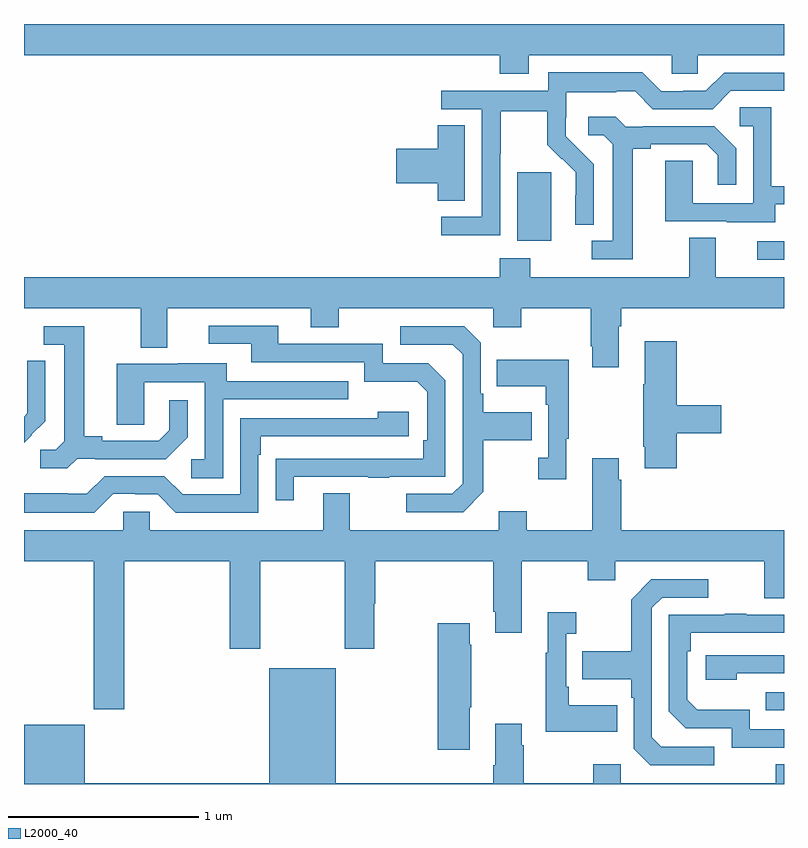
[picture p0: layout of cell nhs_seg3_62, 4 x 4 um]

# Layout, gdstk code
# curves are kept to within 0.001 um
import gdstk
lib = gdstk.Library(unit=1e-6, precision=1e-09)
def R(c, l, rs):  # rectangles x0, y0, x1, y1
    for r in rs: c.add(gdstk.rectangle(r[:2], r[2:], *l))
def P(c, l, *ps):  # polygons
    for p in ps: c.add(gdstk.Polygon(p, *l))
L2000_40 = (2000, 40)

nhs_seg3_62 = lib.new_cell('nhs_seg3_62')
R(nhs_seg3_62, L2000_40, [(116.905,710.787,117,710.883), (116.859,713.16,117,713.256), (115.595,713.258,115.774,713.619)])
P(nhs_seg3_62, L2000_40, [(115.657,714.236),(116.409,714.236),(116.409,714.138),(116.547,714.138),(116.547,714.236),(117,714.236),(117,714.4),(113,714.4),(113,714.236),(115.505,714.236),(115.505,714.137),(115.657,714.137)],
  [(115.506,713.716),(115.509,713.716),(115.509,713.94),(115.753,713.94),(115.753,713.765),(115.83,713.688),(115.833,713.691),(115.904,713.621),(115.904,713.498),(115.902,713.498),(115.902,713.344),(115.998,713.344),(115.998,713.662),(115.852,713.81),(115.852,713.907),(115.854,713.907),(115.854,714.041),(116.117,714.041),(116.117,714.045),(116.217,714.045),(116.31,713.952),(116.625,713.952),(116.721,714.048),(117,714.048),(117,714.144),(116.685,714.144),(116.589,714.048),(116.471,714.048),(116.471,714.045),(116.355,714.045),(116.255,714.145),(115.758,714.145),(115.758,714.048),(115.197,714.048),(115.197,713.952),(115.41,713.952),(115.41,713.385),(115.197,713.385),(115.197,713.287),(115.506,713.287)],
  [(116.953,713.451),(117,713.451),(117,713.547),(116.934,713.547),(116.934,713.963),(116.766,713.963),(116.766,713.862),(116.838,713.862),(116.838,713.457),(116.52,713.457),(116.52,713.681),(116.375,713.681),(116.375,713.361),(116.699,713.361),(116.699,713.357),(116.953,713.357)],
  [(116.203,713.744),(116.299,713.744),(116.299,713.766),(116.594,713.766),(116.651,713.709),(116.651,713.553),(116.748,713.553),(116.748,713.746),(116.632,713.862),(116.26,713.862),(116.26,713.859),(116.166,713.859),(116.114,713.911),(115.971,713.911),(115.971,713.814),(116.052,713.814),(116.099,713.767),(116.099,713.259),(115.989,713.259),(115.989,713.163),(116.203,713.163)],
  [(115.321,713.867),(115.178,713.867),(115.178,713.744),(114.96,713.744),(114.96,713.561),(115.178,713.561),(115.178,713.47),(115.321,713.47)],
  [(116.131,712.808),(116.144,712.808),(116.144,712.904),(117,712.904),(117,713.068),(116.641,713.068),(116.641,713.276),(116.501,713.276),(116.501,713.068),(115.665,713.068),(115.665,713.167),(115.505,713.167),(115.505,713.068),(113,713.068),(113,712.904),(113.615,712.904),(113.615,712.696),(113.755,712.696),(113.755,712.904),(114.509,712.904),(114.509,712.805),(114.657,712.805),(114.657,712.904),(115.47,712.904),(115.47,712.805),(115.617,712.805),(115.617,712.904),(115.984,712.904),(115.984,712.705),(115.991,712.705),(115.991,712.593),(116.131,712.593)],
  [(114.421,712.017),(114.811,712.017),(114.811,712.012),(114.923,712.012),(114.923,712.017),(115.218,712.017),(115.218,712.524),(115.128,712.614),(114.888,712.614),(114.888,712.716),(114.337,712.716),(114.337,712.812),(113.973,712.812),(113.973,712.716),(114.197,712.716),(114.197,712.62),(114.792,712.62),(114.792,712.517),(115.069,712.517),(115.122,712.464),(115.122,712.21),(115.102,712.21),(115.102,712.113),(114.325,712.112),(114.325,711.894),(114.421,711.894)],
  [(113.28,712.113),(113.374,712.113),(113.374,712.11),(113.746,712.11),(113.862,712.226),(113.862,712.42),(113.765,712.42),(113.765,712.263),(113.708,712.206),(113.413,712.206),(113.413,712.229),(113.317,712.229),(113.317,712.809),(113.103,712.809),(113.103,712.713),(113.213,712.713),(113.213,712.205),(113.166,712.158),(113.085,712.158),(113.085,712.061),(113.228,712.061)],
  [(115.417,711.937),(115.417,712.21),(115.673,712.21),(115.673,712.357),(115.417,712.357),(115.417,712.453),(115.404,712.453),(115.404,712.722),(115.317,712.809),(114.981,712.809),(114.981,712.713),(115.257,712.713),(115.308,712.662),(115.308,711.981),(115.254,711.927),(115.011,711.927),(115.011,711.831),(115.311,711.831)],
  [(116.435,712.247),(116.671,712.247),(116.671,712.394),(116.435,712.394),(116.435,712.729),(116.267,712.729),(116.267,712.505),(116.26,712.505),(116.26,712.174),(116.267,712.174),(116.267,712.062),(116.435,712.062)],
  [(115.855,712.217),(115.867,712.217),(115.867,712.633),(115.489,712.633),(115.489,712.493),(115.746,712.493),(115.746,712.397),(115.758,712.397),(115.758,712.118),(115.707,712.118),(115.707,712.005),(115.855,712.005)],
  [(113.04,712.236),(113.039,712.237),(113.112,712.31),(113.112,712.628),(113.016,712.628),(113.016,712.474),(113.018,712.474),(113.018,712.352),(113,712.334),(113,712.196)],
  [(114.048,712.425),(114.707,712.425),(114.707,712.521),(114.067,712.521),(114.067,712.615),(113.813,712.615),(113.813,712.611),(113.489,712.611),(113.489,712.291),(113.634,712.291),(113.634,712.515),(113.952,712.515),(113.952,712.11),(113.88,712.11),(113.88,712.009),(114.048,712.009)],
  [(113.469,711.927),(113.585,711.927),(113.585,711.924),(113.703,711.924),(113.799,711.828),(114.234,711.828),(114.234,712.133),(114.247,712.133),(114.247,712.23),(115.024,712.23),(115.024,712.36),(114.863,712.36),(114.863,712.326),(114.138,712.326),(114.138,711.924),(113.835,711.924),(113.739,712.02),(113.424,712.02),(113.331,711.927),(113.231,711.927),(113.231,711.931),(113,711.931),(113,711.827),(113.369,711.827)],
  [(113.528,711.572),(114.083,711.572),(114.083,711.111),(114.243,711.111),(114.243,711.572),(114.688,711.572),(114.688,711.111),(114.843,711.111),(114.843,711.35),(114.848,711.35),(114.848,711.572),(115.469,711.572),(115.469,711.307),(115.481,711.307),(115.481,711.195),(115.621,711.195),(115.621,711.572),(115.966,711.572),(115.966,711.473),(116.113,711.473),(116.113,711.572),(116.897,711.572),(116.897,711.378),(117,711.378),(117,711.736),(116.144,711.736),(116.144,712.001),(116.131,712.001),(116.131,712.114),(115.991,712.114),(115.991,711.736),(115.647,711.736),(115.647,711.835),(115.499,711.835),(115.499,711.736),(114.715,711.736),(114.715,711.931),(114.575,711.931),(114.575,711.736),(113.661,711.736),(113.661,711.834),(113.523,711.834),(113.523,711.736),(113,711.736),(113,711.572),(113.368,711.572),(113.368,710.793),(113.528,710.793)],
  [(116.632,710.595),(116.355,710.595),(116.304,710.646),(116.304,711.327),(116.358,711.381),(116.602,711.381),(116.602,711.477),(116.301,711.477),(116.196,711.371),(116.196,711.099),(115.939,711.099),(115.939,710.951),(116.196,710.951),(116.196,710.855),(116.208,710.855),(116.208,710.586),(116.295,710.499),(116.632,710.499)],
  [(116.123,710.815),(115.867,710.815),(115.867,710.911),(115.854,710.911),(115.854,711.191),(115.906,711.191),(115.906,711.304),(115.757,711.304),(115.757,711.091),(115.746,711.091),(115.746,710.675),(116.123,710.675)],
  [(117,710.688),(116.82,710.688),(116.82,710.791),(116.543,710.791),(116.49,710.844),(116.49,711.098),(116.51,711.098),(116.51,711.195),(117,711.195),(117,711.291),(116.801,711.291),(116.801,711.296),(116.689,711.296),(116.689,711.291),(116.394,711.291),(116.394,710.784),(116.484,710.694),(116.724,710.694),(116.724,710.592),(117,710.592)],
  [(115.345,710.803),(115.353,710.803),(115.353,711.134),(115.345,711.134),(115.345,711.247),(115.178,711.247),(115.178,710.58),(115.345,710.58)],
  [(116.75,710.982),(117,710.982),(117,711.078),(116.589,711.078),(116.589,710.948),(116.75,710.948)],
  [(117,710.503),(116.956,710.503),(116.956,710.404),(116.142,710.404),(116.142,710.503),(115.996,710.503),(115.996,710.404),(115.629,710.404),(115.629,710.603),(115.621,710.603),(115.621,710.716),(115.481,710.716),(115.481,710.5),(115.469,710.5),(115.469,710.404),(114.64,710.404),(114.64,711.01),(114.29,711.01),(114.29,710.404),(113.32,710.404),(113.32,710.713),(113,710.713),(113,710.4),(117,710.4)])

lib.write_gds('nhs_seg3_62.gds')
